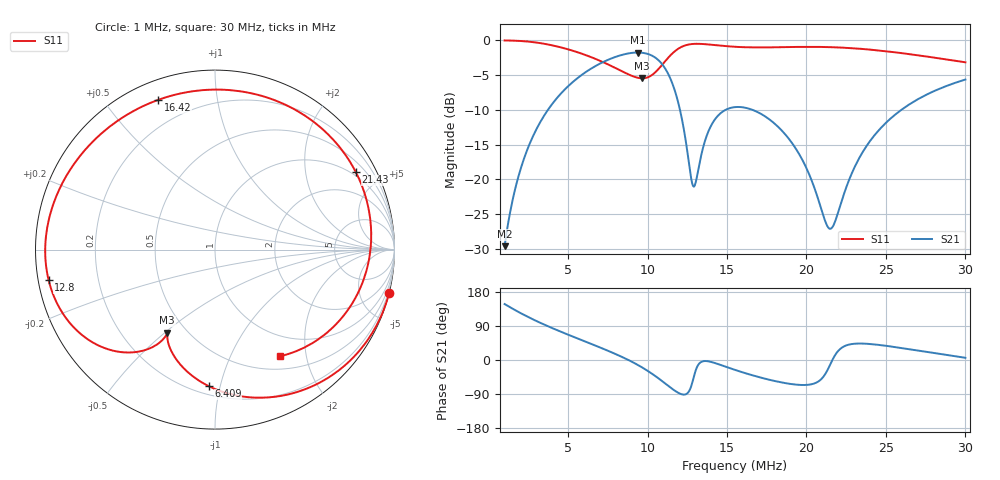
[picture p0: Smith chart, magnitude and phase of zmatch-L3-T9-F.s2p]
# HZ S RI R 50
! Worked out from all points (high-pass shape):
!   505 points, 1 MHz to 30 MHz, reference 50 ohm
!   highest |S21| = -1.74 dB at 9.401 MHz (marker M1); lowest = -29.6 dB at 1 MHz (marker M2)
!   |S21| within 3 dB of the highest: 5.99 MHz to 11.28 MHz (5.288 MHz wide, 61.2 % of centre)
!   lowest |S11| = -5.5 dB at 9.631 MHz (marker M3), VSWR 3.29, Z = 19.7 - j25.5 ohm
!   |S11| at or under -10 dB: nowhere
!   S12 and S22 are empty: the file has one direction only
!   S11 on the Smith chart (normalised r, x): 1 MHz: 0.00, -8.22; 6.409 MHz: 0.25, -0.92; 12.8 MHz: 0.03, -0.09; 16.42 MHz: 0.08, +0.69; 21.43 MHz: 0.85, +3.71; 30 MHz: 0.68, -1.57
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1000000  0.9708 -0.2398  -0.028 0.0177  0 0  0 0
1805560  0.8979 -0.4267  -0.0613 0.0775  0 0  0 0
2783740  0.7461 -0.6248  -0.0604 0.1952  0 0  0 0
4279780  0.4203 -0.8039  0.0721 0.3767  0 0  0 0
5833360  0.0727 -0.8017  0.3404 0.4482  0 0  0 0
6408760  -0.0351 -0.7607  0.4549 0.4266  0 0  0 0
7847260  -0.2197 -0.6059  0.7145 0.2351  0 0  0 0
9400840  -0.2663 -0.4676  0.7964 -0.1906  0 0  0 0
9631000  -0.2657 -0.4631  0.7715 -0.266  0 0  0 0
1.066672e7  -0.3235 -0.5288  0.4855 -0.5369  0 0  0 0
1.181752e7  -0.6797 -0.5181  0.0425 -0.3954  0 0  0 0
1.27957e7  -0.9275 -0.1681  0.0442 -0.0837  0 0  0 0
1.302586e7  -0.9435 -0.0684  0.0843 -0.0442  0 0  0 0
1.406158e7  -0.8681 0.3343  0.2506 -0.0257  0 0  0 0
1.550008e7  -0.5612 0.7042  0.2978 -0.1458  0 0  0 0
1.642072e7  -0.3166 0.8342  0.253 -0.1992  0 0  0 0
1.8262e7  0.1873 0.8741  0.1261 -0.1997  0 0  0 0
2.033344e7  0.6393 0.6325  0.0431 -0.0877  0 0  0 0
2.14267e7  0.7848 0.4311  0.0423 -0.0135  0 0  0 0
2.332552e7  0.8701 0.0592  0.1039 0.0984  0 0  0 0
2.51668e7  0.7959 -0.2433  0.214 0.1587  0 0  0 0
3.000016e7  0.3636 -0.594  0.5206 0.053  0 0  0 0
